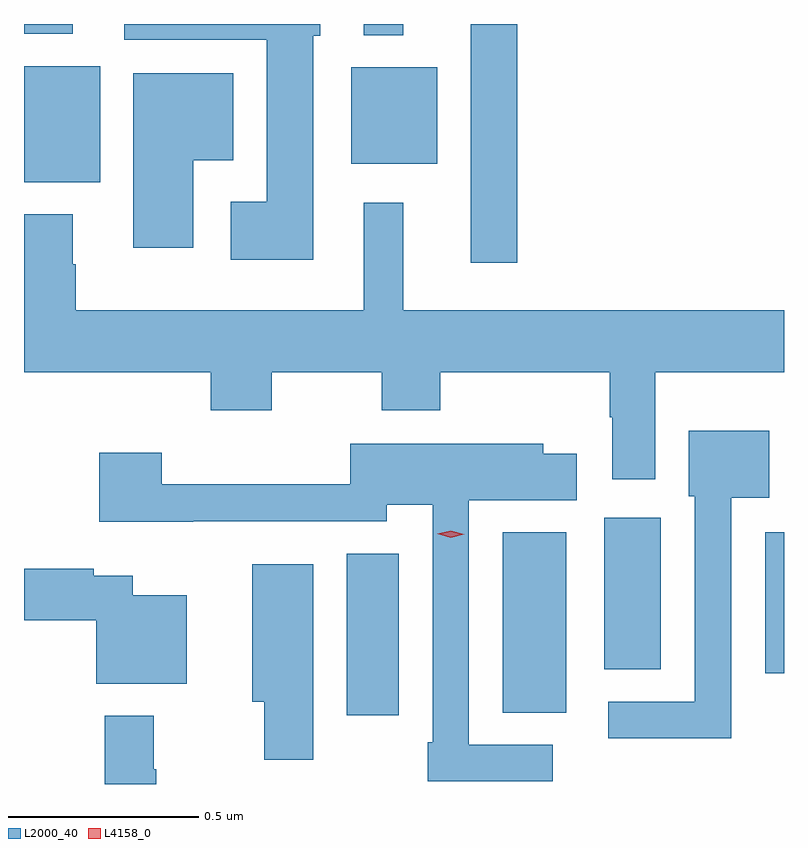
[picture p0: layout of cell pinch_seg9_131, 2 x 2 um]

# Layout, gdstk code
import gdstk
lib = gdstk.Library(unit=1e-6, precision=1e-09)
def R(c, l, rs):  # rectangles x0, y0, x1, y1
    for r in rs: c.add(gdstk.rectangle(r[:2], r[2:], *l))
def P(c, l, *ps):  # polygons
    for p in ps: c.add(gdstk.Polygon(p, *l))
L2000_40 = (2000, 40)
L4158_0 = (4158, 0)

pinch_seg9_131 = lib.new_cell('pinch_seg9_131')
R(pinch_seg9_131, L2000_40, [(809.594,1228.818,809.731,1229.243), (810.005,1228.825,810.172,1229.299), (810.695,1228.929,810.745,1229.299), (810.272,1228.939,810.421,1229.338), (809.921,1230.009,810.043,1230.637), (808.745,1230.221,808.945,1230.526), (809.606,1230.269,809.833,1230.523), (809.639,1230.608,809.743,1230.637), (808.745,1230.611,808.873,1230.637)])
P(pinch_seg9_131, L2000_40, [(809.506,1230.606),(809.524,1230.606),(809.524,1230.637),(809.009,1230.637),(809.009,1230.596),(809.384,1230.596),(809.384,1230.169),(809.289,1230.169),(809.289,1230.017),(809.506,1230.017)],
  [(809.191,1230.278),(809.296,1230.278),(809.296,1230.508),(809.033,1230.508),(809.033,1230.048),(809.191,1230.048)],
  [(810.406,1229.72),(810.745,1229.72),(810.745,1229.884),(809.743,1229.884),(809.743,1230.166),(809.639,1230.166),(809.639,1229.884),(808.881,1229.884),(808.881,1230.005),(808.873,1230.005),(808.873,1230.136),(808.745,1230.136),(808.745,1229.72),(809.237,1229.72),(809.237,1229.621),(809.397,1229.621),(809.397,1229.72),(809.686,1229.72),(809.686,1229.621),(809.841,1229.621),(809.841,1229.72),(810.286,1229.72),(810.286,1229.602),(810.293,1229.602),(810.293,1229.439),(810.406,1229.439)],
  [(810.606,1229.39),(810.706,1229.39),(810.706,1229.566),(810.494,1229.566),(810.494,1229.394),(810.51,1229.394),(810.51,1228.854),(810.282,1228.854),(810.282,1228.757),(810.606,1228.757)],
  [(810.136,1228.74),(809.916,1228.74),(809.916,1229.384),(810.199,1229.384),(810.199,1229.506),(810.111,1229.506),(810.111,1229.533),(809.604,1229.533),(809.604,1229.426),(809.108,1229.426),(809.108,1229.509),(808.943,1229.509),(808.943,1229.327),(809.191,1229.327),(809.191,1229.328),(809.7,1229.328),(809.7,1229.372),(809.82,1229.372),(809.82,1228.747),(809.808,1228.747),(809.808,1228.644),(810.136,1228.644)],
  [(809.506,1229.215),(809.345,1229.215),(809.345,1228.853),(809.377,1228.853),(809.377,1228.701),(809.506,1228.701)],
  [(809.173,1229.134),(809.031,1229.134),(809.031,1229.185),(808.928,1229.185),(808.928,1229.204),(808.745,1229.204),(808.745,1229.068),(808.935,1229.068),(808.935,1228.901),(809.173,1228.901)],
  [(809.093,1228.676),(809.086,1228.676),(809.086,1228.816),(808.957,1228.816),(808.957,1228.637),(809.093,1228.637)])
P(pinch_seg9_131, L4158_0, [(809.868,1229.285),(809.833,1229.295),(809.833,1229.295),(809.833,1229.295),(809.868,1229.304),(809.903,1229.294),(809.903,1229.294),(809.903,1229.294)])

lib.write_gds('pinch_seg9_131.gds')
